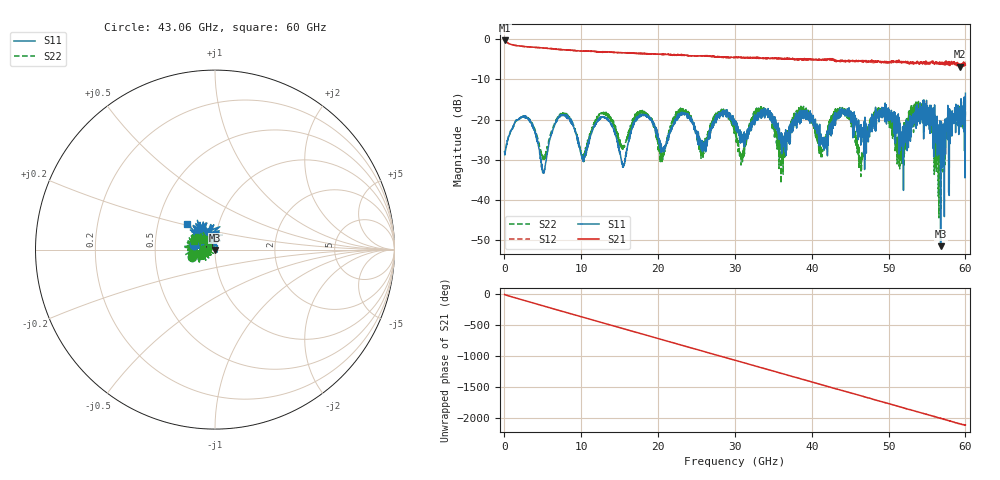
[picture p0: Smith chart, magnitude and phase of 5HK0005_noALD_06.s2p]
! File created by 'SoftPlot +Plus+ Measurement Management Software'
! SoftPlot +Plus+ Measurement Management Software
! Start 40.000000 MHz  Stop 60.000000 GHz  Points 1601
# MHZ S RI R 50
! S-Parameter data, F S11 S21 S12 S22
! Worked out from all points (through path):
!   1601 points, 40 MHz to 60 GHz, reference 50 ohm
!   highest |S21| = -0.34 dB at 40 MHz (marker M1); lowest = -6.9 dB at 59.25 GHz (marker M2)
!   group delay of S21, straight-line fit = 97.9 ps
!   lowest |S11| = -51.5 dB at 56.78 GHz (marker M3), VSWR 1.01, Z = 50.1 - j0.261 ohm
!   |S11| at or under -10 dB: start of sweep to end of sweep
!   |S22| runs from -44.4 to -15.5 dB; largest |S21 - S12| = 0.066
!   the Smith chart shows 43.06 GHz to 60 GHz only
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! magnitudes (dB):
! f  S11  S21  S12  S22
! 40 MHz  -28.0  -0.3  -0.4  -27.9
! 2.813 GHz  -19.6  -1.9  -1.9  -19.2
! 5.137 GHz  -33.4  -2.2  -2.2  -29.8
! 7.647 GHz  -19.0  -2.6  -2.6  -18.8
! 10.05 GHz  -28.7  -3.0  -3.0  -28.6
! 12.78 GHz  -19.5  -3.1  -3.2  -18.6
! 15.44 GHz  -31.0  -3.4  -3.4  -27.3
! 17.54 GHz  -19.5  -3.6  -3.6  -18.2
! 20.05 GHz  -24.6  -3.8  -3.8  -24.4
! 23.05 GHz  -18.2  -4.0  -4.0  -18.2
! 25.64 GHz  -27.4  -4.2  -4.2  -25.2
! 30.02 GHz  -20.3  -4.5  -4.5  -22.4
! 40.03 GHz  -19.6  -5.0  -5.1  -20.9
! 41.3 GHz  -25.1  -5.2  -5.1  -27.5
! 44.3 GHz  -17.6  -5.5  -5.5  -19.1
! 46.43 GHz  -21.3  -5.4  -5.5  -29.5
! 50.03 GHz  -17.4  -5.7  -5.7  -20.0
! 51.42 GHz  -20.5  -5.5  -5.7  -26.0
! 54.53 GHz  -16.2  -5.7  -6.1  -19.0
! 56.78 GHz  -51.5  -6.2  -5.9  -25.1
! 59.25 GHz  -20.0  -6.9  -6.3  -20.3
! 60 GHz  -13.5  -6.4  -6.8  -18.1
